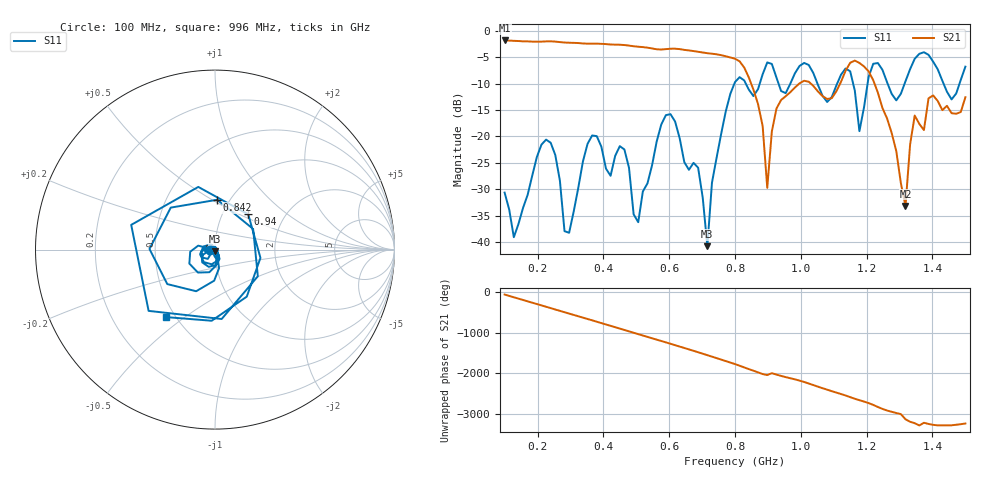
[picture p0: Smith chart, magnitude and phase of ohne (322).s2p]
! NanoVNA-App
! Date: 2025-09-25 14:23:18
! Start: 100MHz Stop: 1,5GHz Points: 101
! S-Parameter data: F S11 S21 S12 S22
# Hz S RI R 50
!  Frequency  S11_Real  S11_Imag  S21_Real  S21_Imag  S12_Real  S12_Imag  S22_Real  S22_Imag
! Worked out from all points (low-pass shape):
!   101 points, 100 MHz to 1.5 GHz, reference 50 ohm
!   highest |S21| = -1.79 dB at 100 MHz (marker M1); lowest = -33.2 dB at 1.318 GHz (marker M2)
!   |S21| within 3 dB of the highest: start of sweep to 772.1 MHz
!   lowest |S11| = -40.8 dB at 716 MHz (marker M3), VSWR 1.02, Z = 49.7 - j0.865 ohm
!   |S11| at or under -10 dB: start of sweep to 798 MHz; 833 MHz to 875.1 MHz (42.06 MHz wide, 4.92 % of centre); 1.051 GHz to 1.11 GHz (59.55 MHz wide, 5.51 % of centre) (the widest 3 of 7)
!   S12 and S22 are empty: the file has one direction only
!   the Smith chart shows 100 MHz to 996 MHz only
!   S11 on the Smith chart (normalised r, x): 100 MHz: 0.94, -0.01; 842 MHz: 0.88, +0.53; 940 MHz: 1.32, +0.56; 996 MHz: 0.44, -0.42
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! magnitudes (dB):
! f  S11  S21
! 100 MHz  -30.6  -1.8
! 128 MHz  -39.1  -1.9
! 226 MHz  -20.6  -2.0
! 296 MHz  -38.3  -2.2
! 338 MHz  -24.7  -2.4
! 464 MHz  -22.5  -2.7
! 506 MHz  -36.2  -3.0
! 576 MHz  -17.7  -3.5
! 688 MHz  -25.9  -3.9
! 716 MHz  -40.8  -4.2
! 800 MHz  -9.7  -5.3
! 842 MHz  -11.1  -8.8
! 898 MHz  -6.0  -29.7
! 940 MHz  -11.4  -13.1
! 996 MHz  -6.6  -9.9
! 1.038 GHz  -8.0  -10.4
! 1.178 GHz  -19.0  -6.1
! 1.22 GHz  -6.2  -9.3
! 1.276 GHz  -11.9  -19.3
! 1.318 GHz  -9.5  -33.2
! 1.346 GHz  -5.3  -16.0
! 1.5 GHz  -6.8  -12.6
